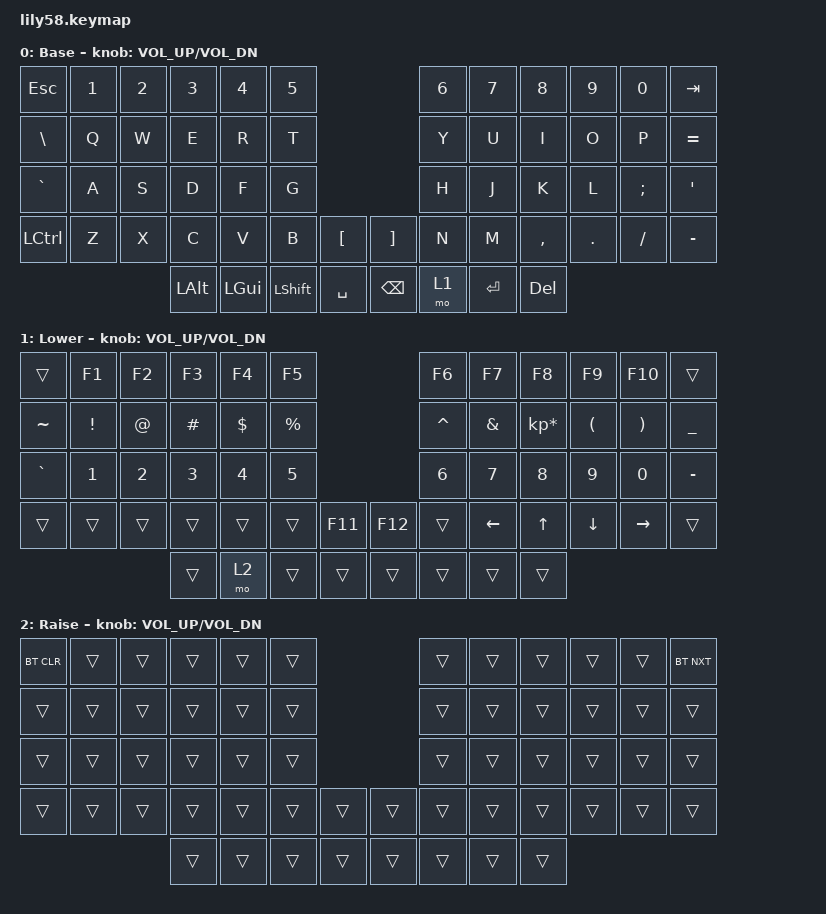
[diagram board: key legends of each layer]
/*
 * Copyright (c) 2020 The ZMK Contributors
 *
 * SPDX-License-Identifier: MIT
 */

#include <behaviors.dtsi>
#include <dt-bindings/zmk/keys.h>
#include <dt-bindings/zmk/bt.h>
#include <dt-bindings/zmk/ext_power.h>

/ {
    keymap {
        compatible = "zmk,keymap";

        default_layer {
// ------------------------------------------------------------------------------------------------------------
// |    |  1  |  2  |  3   |  4   |  5   |                   |  6   |  7    |  8    |  9   |   0   |   `   |
// |  TAB  |  Q  |  W  |  E   |  R   |  T   |                   |  Y   |  U    |  I    |  O   |   P   |   -   |
// |  CTRL |  A  |  S  |  D   |  F   |  G   |                   |  H   |  J    |  K    |  L   |   ;   |   '   |
// | SHIFT |  Z  |  X  |  C   |  V   |  B   |   "["  |  |  "]"  |  N   |  M    |  ,    |  .   |   /   | SHIFT |
//                     | ALT  | GUI  | LOWER|  SPACE |  | ENTER | RAISE| BSPC  | GUI   |
            label = "Base";
            bindings = <
&kp ESC    &kp N1 &kp N2 &kp N3   &kp N4   &kp N5                               &kp N6 &kp N7   &kp N8    &kp N9  &kp N0   &kp TAB
&kp BSLH   &kp Q  &kp W  &kp E    &kp R    &kp T                                &kp Y  &kp U    &kp I     &kp O   &kp P    &kp EQL
&kp GRAVE  &kp A  &kp S  &kp D    &kp F    &kp G                                &kp H  &kp J    &kp K     &kp L   &kp SEMI &kp SQT
&kp LCTRL  &kp Z  &kp X  &kp C    &kp V    &kp B       &kp LBKT       &kp RBKT  &kp N  &kp M    &kp COMMA &kp DOT &kp FSLH &kp MINUS
                         &kp LALT &kp LGUI &kp LSHIFT  &kp SPACE      &kp BSPC  &mo 1  &kp RET  &kp DEL
            >;

            sensor-bindings = <&inc_dec_kp C_VOL_UP C_VOL_DN>;
        };

        lower_layer {
// ------------------------------------------------------------------------------------------------------------
// | BTCLR | BT1 | BT2 |  BT3 |  BT4 |  BT5 |                   |      |       |       |      |       |       |
// |  F1   |  F2 |  F3 |  F4  |  F5  |  F6  |                   |  F7  |  F8   |  F9   |  F10 |  F11  |  F12  |
// |   `   |  !  |  @  |  #   |  $   |  %   |                   |  ^   |  &    |  *    |  (   |   )   |   ~   |
// |       |     |     |      |      |      |        |  |       |      |  _    |  +    |  {   |   }   |  "|"  |
//                     |      |      |      |        |  |       |      |       |       |
            label = "Lower";
            bindings = <
&trans     &kp F1           &kp F2            &kp F3            &kp F4       &kp F5                         &kp F6    &kp F7    &kp F8          &kp F9    &kp F10       &trans
&kp TILDE  &kp EXCL         &kp AT            &kp HASH          &kp DOLLAR   &kp PRCNT                      &kp CARET &kp AMPS  &kp KP_MULTIPLY &kp LPAR  &kp RPAR      &kp UNDER
&kp GRAVE  &kp N1           &kp N2            &kp N3            &kp N4       &kp N5                         &kp N6    &kp N7    &kp N8          &kp N9    &kp N0        &kp MINUS
&trans     &trans           &trans            &trans            &trans       &trans    &kp F11   &kp F12    &trans    &kp LEFT  &kp UP          &kp DOWN  &kp RIGHT     &trans
                                              &trans            &mo 2        &trans    &trans    &trans     &trans    &trans    &trans
            >;

            sensor-bindings = <&inc_dec_kp C_VOL_UP C_VOL_DN>;
        };

        raise_layer {
// ------------------------------------------------------------------------------------------------------------
// |       |     |     |      |      |      |                   |      |       |       |      |       |       |
// |   `   |  1  |  2  |  3   |  4   |  5   |                   |  6   |   7   |   8   |  9   |   0   |       |
// |   F1  |  F2 |  F3 |  F4  |  F5  |  F6  |                   |      |   <-  |   v   |  ^   |  ->   |       |
// |   F7  |  F8 |  F9 |  F10 |  F11 |  F12 |        |  |       |  +   |   -   |   =   |  [   |   ]   |   \   |
//                     |      |      |      |        |  |       |      |       |       |
            label = "Raise";
            bindings = <
&bt BT_CLR  &trans &trans &trans  &trans  &trans                       &trans      &trans    &trans    &trans   &trans    &bt BT_NXT
&trans      &trans &trans &trans  &trans  &trans                       &trans      &trans    &trans    &trans   &trans    &trans
&trans      &trans &trans &trans  &trans  &trans                       &trans      &trans    &trans    &trans   &trans    &trans
&trans      &trans &trans &trans  &trans  &trans    &trans   &trans    &trans      &trans    &trans    &trans   &trans    &trans
                        &trans  &trans  &trans    &trans   &trans    &trans      &trans    &trans
            >;

            sensor-bindings = <&inc_dec_kp C_VOL_UP C_VOL_DN>;
        };
    };
};
